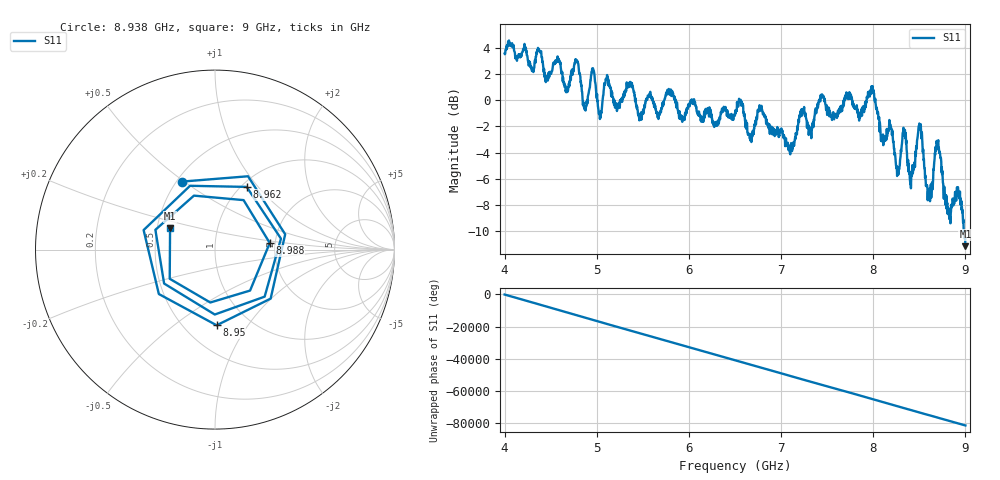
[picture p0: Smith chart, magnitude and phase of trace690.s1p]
! Created with skrf 1.8.0 (http://scikit-rf.org).
# Hz S RI R 50.0
!freq ReS11 ImS11
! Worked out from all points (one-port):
!   1601 points, 4 GHz to 9 GHz, reference 50 ohm
!   lowest |S11| = -11.1 dB at 9 GHz (marker M1), VSWR 1.77, Z = 29.3 + j7.57 ohm
!   |S11| at or under -10 dB: 8.984776 GHz to end of sweep
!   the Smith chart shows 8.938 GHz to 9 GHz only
!   S11 on the Smith chart (normalised r, x): 8.938 GHz: 0.53, +0.49; 8.95 GHz: 0.71, -0.73; 8.962 GHz: 1.06, +0.87; 8.988 GHz: 1.87, +0.15; 9 GHz: 0.59, +0.15
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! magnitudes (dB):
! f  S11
! 4 GHz  3.6
! 4.625 GHz  2.2
! 4.781 GHz  3.0
! 4.872 GHz  -0.6
! 4.956 GHz  2.4
! 5.031 GHz  -1.1
! 5.25 GHz  -0.6
! 5.875 GHz  -0.6
! 6.5 GHz  -1.1
! 7.125 GHz  -3.7
! 7.225 GHz  -0.8
! 7.312 GHz  -2.4
! 7.434 GHz  0.2
! 7.75 GHz  0.5
! 7.991 GHz  0.8
! 8.262 GHz  -5.5
! 8.334 GHz  -2.7
! 8.375 GHz  -5.0
! 8.422 GHz  -5.5
! 8.506 GHz  -2.0
! 8.597 GHz  -7.0
! 8.7 GHz  -3.2
! 8.819 GHz  -8.3
! 8.938 GHz  -7.5
! 8.95 GHz  -7.5
! 8.962 GHz  -8.1
! 8.988 GHz  -10.2
! 9 GHz  -11.1
